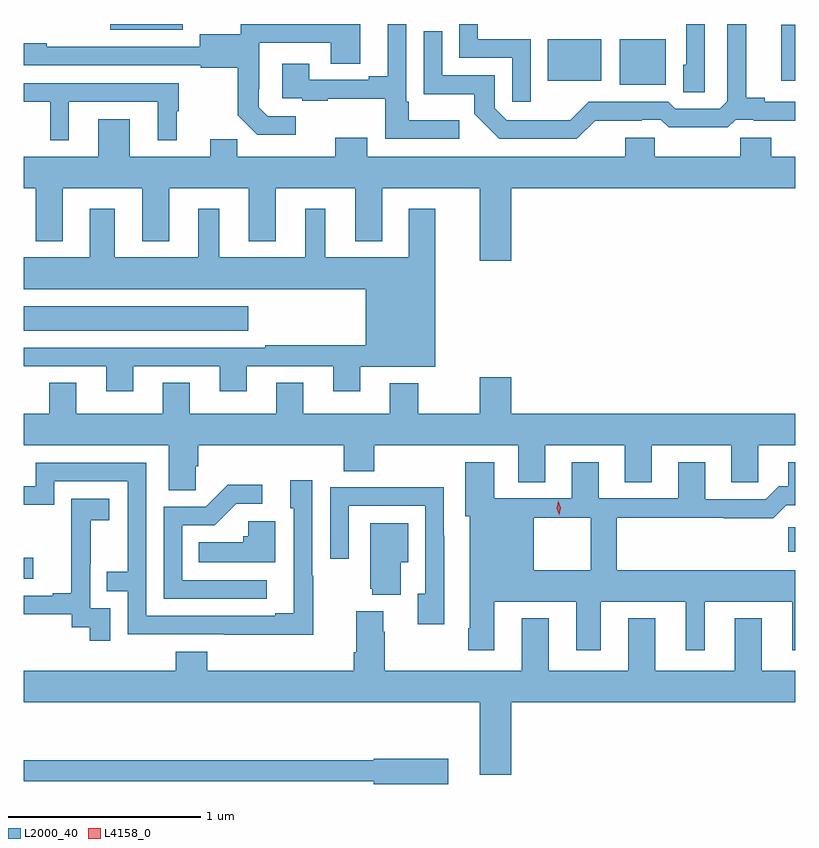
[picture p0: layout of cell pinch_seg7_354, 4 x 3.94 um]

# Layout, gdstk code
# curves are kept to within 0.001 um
import gdstk
lib = gdstk.Library(unit=1e-6, precision=1e-09)
def R(c, l, rs):  # rectangles x0, y0, x1, y1
    for r in rs: c.add(gdstk.rectangle(r[:2], r[2:], *l))
def P(c, l, *ps):  # polygons
    for p in ps: c.add(gdstk.Polygon(p, *l))
L2000_40 = (2000, 40)
L4158_0 = (4158, 0)

pinch_seg7_354 = lib.new_cell('pinch_seg7_354')
R(pinch_seg7_354, L2000_40, [(366.441,1023.9,366.49,1024.009), (370.404,1024.04,370.441,1024.169), (366.441,1025.186,367.606,1025.314), (369.53,1026.461,369.769,1026.697), (369.158,1026.482,369.436,1026.697), (370.367,1026.482,370.441,1026.772), (366.889,1026.747,367.267,1026.776)])
P(pinch_seg7_354, L2000_40, [(368.698,1026.277),(368.437,1026.277),(368.437,1026.373),(368.424,1026.373),(368.424,1026.776),(368.327,1026.776),(368.327,1026.505),(368.231,1026.505),(368.231,1026.486),(367.921,1026.486),(367.921,1026.571),(367.781,1026.571),(367.781,1026.39),(367.885,1026.39),(367.885,1026.378),(368.017,1026.378),(368.017,1026.389),(368.316,1026.389),(368.316,1026.18),(368.698,1026.18)],
  [(367.852,1026.297),(367.707,1026.297),(367.66,1026.344),(367.66,1026.439),(367.662,1026.439),(367.662,1026.68),(368.033,1026.68),(368.033,1026.571),(368.185,1026.571),(368.185,1026.776),(367.566,1026.776),(367.566,1026.724),(367.355,1026.724),(367.355,1026.657),(366.561,1026.658),(366.561,1026.676),(366.441,1026.676),(366.441,1026.561),(367.359,1026.561),(367.359,1026.549),(367.551,1026.549),(367.551,1026.303),(367.651,1026.203),(367.852,1026.203)],
  [(369.404,1026.275),(369.644,1026.275),(369.644,1026.279),(369.744,1026.279),(369.784,1026.24),(370.091,1026.24),(370.131,1026.279),(370.225,1026.279),(370.225,1026.275),(370.441,1026.275),(370.441,1026.372),(370.282,1026.372),(370.282,1026.395),(370.187,1026.395),(370.187,1026.776),(370.089,1026.776),(370.089,1026.375),(370.05,1026.336),(369.819,1026.336),(369.783,1026.372),(369.369,1026.372),(369.275,1026.278),(369.17,1026.278),(369.17,1026.276),(368.946,1026.276),(368.883,1026.339),(368.883,1026.51),(368.61,1026.51),(368.61,1026.739),(368.514,1026.739),(368.514,1026.413),(368.776,1026.413),(368.776,1026.311),(368.906,1026.18),(369.309,1026.18)],
  [(369.069,1026.696),(368.796,1026.696),(368.796,1026.776),(368.7,1026.776),(368.7,1026.6),(368.973,1026.6),(368.973,1026.372),(369.069,1026.372)],
  [(369.972,1026.776),(369.876,1026.776),(369.876,1026.564),(369.86,1026.564),(369.86,1026.421),(369.972,1026.421)],
  [(366.676,1026.372),(367.136,1026.372),(367.136,1026.173),(367.234,1026.173),(367.234,1026.324),(367.246,1026.324),(367.246,1026.468),(366.441,1026.468),(366.441,1026.372),(366.578,1026.372),(366.578,1026.173),(366.676,1026.173)],
  [(368.057,1026.088),(367.547,1026.088),(367.547,1026.179),(367.409,1026.179),(367.409,1026.088),(366.991,1026.088),(366.991,1026.283),(366.827,1026.283),(366.827,1026.088),(366.441,1026.088),(366.441,1025.924),(366.503,1025.924),(366.503,1025.651),(366.643,1025.651),(366.643,1025.924),(367.055,1025.924),(367.055,1025.651),(367.195,1025.651),(367.195,1025.924),(367.607,1025.924),(367.607,1025.651),(367.747,1025.651),(367.747,1025.924),(368.159,1025.924),(368.159,1025.651),(368.299,1025.651),(368.299,1025.924),(368.804,1025.924),(368.804,1025.55),(368.968,1025.55),(368.968,1025.924),(370.441,1025.924),(370.441,1026.088),(370.316,1026.088),(370.316,1026.186),(370.156,1026.186),(370.156,1026.088),(369.711,1026.088),(369.711,1026.186),(369.56,1026.186),(369.56,1026.088),(368.221,1026.088),(368.221,1026.187),(368.057,1026.187)],
  [(367.009,1025.001),(367.457,1025.001),(367.457,1024.872),(367.597,1024.872),(367.597,1025.001),(368.045,1025.001),(368.045,1024.872),(368.185,1024.872),(368.185,1025),(368.575,1025),(368.575,1025.818),(368.438,1025.818),(368.438,1025.566),(368.005,1025.566),(368.005,1025.818),(367.901,1025.818),(367.901,1025.566),(367.456,1025.566),(367.456,1025.818),(367.346,1025.818),(367.346,1025.566),(366.913,1025.566),(366.913,1025.818),(366.785,1025.818),(366.785,1025.566),(366.441,1025.566),(366.441,1025.402),(368.213,1025.402),(368.213,1025.11),(367.693,1025.11),(367.693,1025.097),(366.441,1025.097),(366.441,1025.001),(366.869,1025.001),(366.869,1024.872),(367.009,1024.872)],
  [(368.968,1024.945),(368.804,1024.945),(368.804,1024.756),(368.487,1024.756),(368.487,1024.915),(368.339,1024.915),(368.339,1024.756),(367.891,1024.756),(367.891,1024.916),(367.751,1024.916),(367.751,1024.756),(367.303,1024.756),(367.303,1024.916),(367.163,1024.916),(367.163,1024.756),(366.715,1024.756),(366.715,1024.916),(366.575,1024.916),(366.575,1024.756),(366.441,1024.756),(366.441,1024.592),(367.193,1024.592),(367.193,1024.36),(367.332,1024.36),(367.332,1024.483),(367.346,1024.483),(367.346,1024.592),(368.099,1024.592),(368.099,1024.459),(368.259,1024.459),(368.259,1024.592),(369.005,1024.592),(369.005,1024.402),(369.145,1024.402),(369.145,1024.592),(369.557,1024.592),(369.557,1024.402),(369.697,1024.402),(369.697,1024.592),(370.109,1024.592),(370.109,1024.402),(370.248,1024.402),(370.248,1024.592),(370.441,1024.592),(370.441,1024.756),(368.968,1024.756)],
  [(368.746,1023.643),(368.746,1023.531),(368.881,1023.531),(368.881,1023.782),(369.305,1023.782),(369.305,1023.531),(369.433,1023.531),(369.433,1023.782),(369.872,1023.782),(369.872,1023.531),(369.97,1023.531),(369.97,1023.782),(370.424,1023.782),(370.424,1023.531),(370.441,1023.531),(370.441,1023.946),(369.515,1023.946),(369.515,1024.216),(370.069,1024.216),(370.069,1024.214),(370.325,1024.214),(370.394,1024.283),(370.441,1024.283),(370.441,1024.504),(370.403,1024.504),(370.403,1024.381),(370.354,1024.381),(370.287,1024.314),(369.973,1024.314),(369.973,1024.504),(369.833,1024.504),(369.833,1024.317),(369.421,1024.317),(369.421,1024.504),(369.281,1024.504),(369.281,1024.317),(368.881,1024.317),(368.881,1024.504),(368.729,1024.504),(368.729,1024.224),(368.753,1024.224),(368.753,1023.946),(369.085,1023.946),(369.085,1024.216),(369.38,1024.216),(369.38,1023.946),(368.753,1023.946),(368.753,1023.643)],
  [(367.941,1023.917),(367.938,1023.917),(367.938,1024.411),(367.823,1024.411),(367.823,1024.266),(367.842,1024.266),(367.842,1023.721),(367.745,1023.721),(367.745,1023.708),(367.077,1023.708),(367.077,1024.503),(366.503,1024.503),(366.503,1024.38),(366.441,1024.38),(366.441,1024.284),(366.6,1024.284),(366.6,1024.407),(366.981,1024.407),(366.981,1023.938),(366.871,1023.938),(366.871,1023.837),(366.981,1023.837),(366.981,1023.612),(367.477,1023.612),(367.477,1023.611),(367.941,1023.611)],
  [(367.702,1023.894),(367.263,1023.894),(367.263,1024.179),(367.432,1024.179),(367.543,1024.29),(367.678,1024.29),(367.678,1024.388),(367.499,1024.388),(367.386,1024.275),(367.167,1024.275),(367.167,1023.798),(367.702,1023.798)],
  [(368.62,1024.124),(368.619,1024.124),(368.619,1024.376),(368.347,1024.376),(368.347,1024.374),(368.031,1024.374),(368.031,1024.005),(368.127,1024.005),(368.127,1024.278),(368.523,1024.278),(368.523,1023.822),(368.483,1023.822),(368.483,1023.666),(368.62,1023.666)],
  [(366.891,1023.747),(366.786,1023.747),(366.786,1023.977),(366.788,1023.977),(366.788,1024.205),(366.886,1024.205),(366.886,1024.315),(366.688,1024.315),(366.688,1024.109),(366.689,1024.109),(366.689,1023.826),(366.593,1023.826),(366.593,1023.813),(366.441,1023.813),(366.441,1023.717),(366.69,1023.717),(366.69,1023.649),(366.783,1023.649),(366.783,1023.579),(366.891,1023.579)],
  [(367.744,1024.198),(367.605,1024.198),(367.605,1024.122),(367.579,1024.122),(367.579,1024.09),(367.348,1024.09),(367.348,1023.986),(367.744,1023.986)],
  [(368.395,1023.986),(368.434,1023.986),(368.434,1024.189),(368.237,1024.189),(368.237,1023.849),(368.249,1023.849),(368.249,1023.818),(368.395,1023.818)],
  [(368.968,1023.26),(370.441,1023.26),(370.441,1023.424),(370.267,1023.424),(370.267,1023.697),(370.127,1023.697),(370.127,1023.424),(369.715,1023.424),(369.715,1023.697),(369.575,1023.697),(369.575,1023.424),(369.163,1023.424),(369.163,1023.697),(369.023,1023.697),(369.023,1023.424),(368.313,1023.424),(368.313,1023.626),(368.305,1023.626),(368.305,1023.733),(368.165,1023.733),(368.165,1023.52),(368.153,1023.52),(368.153,1023.424),(367.394,1023.424),(367.394,1023.523),(367.229,1023.523),(367.229,1023.424),(366.441,1023.424),(366.441,1023.26),(368.804,1023.26),(368.804,1022.886),(368.968,1022.886)],
  [(368.641,1022.967),(368.256,1022.967),(368.256,1022.959),(366.441,1022.959),(366.441,1022.85),(368.256,1022.85),(368.256,1022.837),(368.641,1022.837)])
P(pinch_seg7_354, L4158_0, [(369.216,1024.231),(369.216,1024.232),(369.204,1024.267),(369.211,1024.303),(369.211,1024.304),(369.211,1024.303),(369.224,1024.268),(369.216,1024.232)])

lib.write_gds('pinch_seg7_354.gds')
